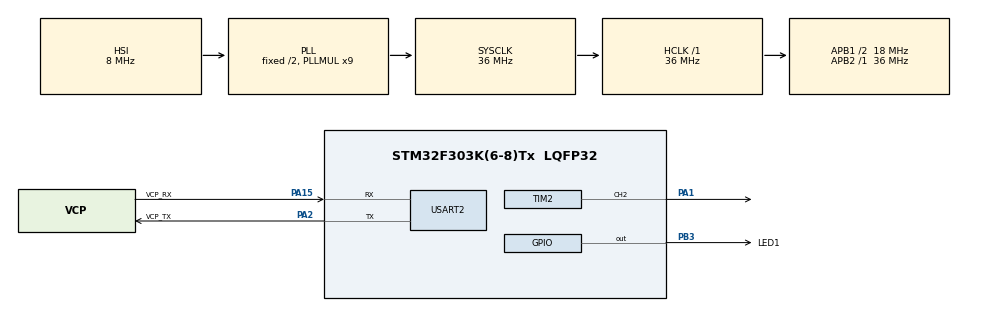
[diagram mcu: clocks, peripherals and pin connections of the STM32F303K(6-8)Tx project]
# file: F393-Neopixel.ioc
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Dma.Request0=TIM2_UP
Dma.TIM2_UP.0.Direction=DMA_MEMORY_TO_PERIPH
Dma.TIM2_UP.0.Instance=DMA1_Channel2
Dma.TIM2_UP.0.MemDataAlignment=DMA_MDATAALIGN_WORD
Dma.TIM2_UP.0.MemInc=DMA_MINC_ENABLE
Dma.TIM2_UP.0.Mode=DMA_NORMAL
Dma.TIM2_UP.0.PeriphDataAlignment=DMA_PDATAALIGN_WORD
Dma.TIM2_UP.0.PeriphInc=DMA_PINC_DISABLE
Dma.TIM2_UP.0.Priority=DMA_PRIORITY_VERY_HIGH
Mcu.Family=STM32F3
Mcu.Name=STM32F303K(6-8)Tx
Mcu.Package=LQFP32
NVIC.DMA1_Channel2_IRQn=true\:0\:0\:false\:false\:true\:false\:true\:true
NVIC.PriorityGroup=NVIC_PRIORITYGROUP_4
PA1.Signal=S_TIM2_CH2
PA13.GPIO_Label=SWDIO
PA13.Mode=Serial_Wire
PA13.Signal=SYS_JTMS-SWDIO
PA14.GPIO_Label=SWCLK
PA14.Mode=Serial_Wire
PA14.Signal=SYS_JTCK-SWCLK
PA15.GPIO_Label=VCP_RX
PA15.Mode=Asynchronous
PA15.Signal=USART2_RX
PA2.GPIO_Label=VCP_TX
PA2.Mode=Asynchronous
PA2.Signal=USART2_TX
PB3.GPIO_Label=LED1
PB3.Signal=GPIO_Output
PF0\ /\ OSC_IN.GPIO_Label=MCO
PF0\ /\ OSC_IN.Signal=RCC_OSC_IN
ProjectManager.HeapSize=0x200
ProjectManager.StackSize=0x400
ProjectManager.TargetToolchain=STM32CubeIDE
RCC.AHBFreq_Value=36000000
RCC.APB1CLKDivider=RCC_HCLK_DIV2
RCC.APB1Freq_Value=18000000
RCC.APB1TimFreq_Value=36000000
RCC.APB2Freq_Value=36000000
RCC.APB2TimFreq_Value=36000000
RCC.CortexFreq_Value=36000000
RCC.HCLKFreq_Value=36000000
RCC.HSE_VALUE=8000000
RCC.HSI_VALUE=8000000
RCC.PLLMUL=RCC_PLL_MUL9
RCC.SYSCLKFreq_VALUE=36000000
RCC.SYSCLKSourceVirtual=RCC_SYSCLKSOURCE_PLLCLK
SH.S_TIM2_CH2.0=TIM2_CH2,PWM Generation2 CH2
TIM2.Channel-PWM\ Generation2\ CH2=TIM_CHANNEL_2
TIM2.Period=45
USART2.VirtualMode-Asynchronous=VM_ASYNC
VP_TIM2_VS_ClockSourceINT.Mode=Internal
board=NUCLEO-F303K8

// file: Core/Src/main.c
/* USER CODE BEGIN Header */
/**
 ******************************************************************************
 * @file           : main.c
 * @brief          : Main program body
 ******************************************************************************
 * @attention
 *
 * Copyright (c) 2023 STMicroelectronics.
 * All rights reserved.
 *
 * This software is licensed under terms that can be found in the LICENSE file
 * in the root directory of this software component.
 * If no LICENSE file comes with this software, it is provided AS-IS.
 *
 ******************************************************************************
 */

// ARB1 Clock 36
/* USER CODE END Header */
#include "main.h"

/* USER CODE BEGIN Includes */
#define NUM_PIXELS 12
#define DMA_BUFF_SIZE (NUM_PIXELS * 24) + 1
#define NEOPIXEL_ZERO 14
#define NEOPIXEL_ONE  28
/* USER CODE END Includes */

/* USER CODE BEGIN PTD */
typedef union {
	struct {
		uint8_t b;
		uint8_t r;
		uint8_t g;
	} color;
	uint32_t data;
} PixelRGB_t;

/* USER CODE END PTD */

TIM_HandleTypeDef htim2;
DMA_HandleTypeDef hdma_tim2_up;

UART_HandleTypeDef huart2;

/* USER CODE BEGIN PV */
void HAL_TIM_PWM_PulseFinishedCallback(TIM_HandleTypeDef *htim) {
	HAL_TIM_PWM_Stop_DMA(&htim2, TIM_CHANNEL_2);
}
/* USER CODE END PV */

void SystemClock_Config(void);
static void MX_GPIO_Init(void);
static void MX_DMA_Init(void);
static void MX_USART2_UART_Init(void);
static void MX_TIM2_Init(void);
/* USER CODE BEGIN PFP */
int32_t CH1_DC = 0;
uint32_t *pBuff;
int i, j, k;
uint16_t stepSize;

/* USER CODE END PFP */

int main(void)
{

  /* USER CODE BEGIN 1 */

	PixelRGB_t pixel[NUM_PIXELS] = {0};
	uint32_t dmaBuffer[DMA_BUFF_SIZE] = { 0 };
  /* USER CODE END 1 */

  /* MCU Configuration--------------------------------------------------------*/

  /* Reset of all peripherals, Initializes the Flash interface and the Systick. */
  HAL_Init();

  /* Configure the system clock */
  SystemClock_Config();

  /* Initialize all configured peripherals */
  MX_GPIO_Init();
  MX_DMA_Init();
  MX_USART2_UART_Init();
  MX_TIM2_Init();

  /* Infinite loop */
  /* USER CODE BEGIN WHILE */

	k = 0;
	stepSize = 4;
	while (1) {

    /* USER CODE END WHILE */
HAL_GPIO_TogglePin(LED1_GPIO_Port, LED1_Pin);
    /* USER CODE BEGIN 3 */

		for (i = (NUM_PIXELS - 1); i > 0; i--) {
			pixel[i].data = pixel[i - 1].data;
		}

		if (k < 255) {
			pixel[0].color.g = 254 - k; //[254, 0]
			pixel[0].color.r = k + 1;  //[1, 255]
			pixel[0].color.b = 0;
		} else if (k < 510) {
			pixel[0].color.g = 0;
			pixel[0].color.r = 509 - k; //[254, 0]
			pixel[0].color.b = k - 254; //[1, 255]
			j++;
		} else if (k < 765) {
			pixel[0].color.g = k - 509; //[1, 255];
			pixel[0].color.r = 0;
			pixel[0].color.b = 764 - k; //[254, 0]
		}
		k = (k + stepSize) % 765;

		// not so bright
		pixel[0].color.g >>= 2;
		pixel[0].color.r >>= 2;
		pixel[0].color.b >>= 2;

		pBuff = dmaBuffer;
		for (i = 0; i < NUM_PIXELS; i++) {
			for (j = 23; j >= 0; j--) {
				if ((pixel[i].data >> j) & 0x01) {
					*pBuff = NEOPIXEL_ONE;
				} else {
					*pBuff = NEOPIXEL_ZERO;
				}
				pBuff++;
			}
		}
		dmaBuffer[DMA_BUFF_SIZE - 1] = 0; // last element must be 0!

		HAL_TIM_PWM_Start_DMA(&htim2, TIM_CHANNEL_2, dmaBuffer, DMA_BUFF_SIZE);

		HAL_Delay(10);
	}
  /* USER CODE END 3 */
}

void SystemClock_Config(void)
{
  RCC_OscInitTypeDef RCC_OscInitStruct = {0};
  RCC_ClkInitTypeDef RCC_ClkInitStruct = {0};

  /** Initializes the RCC Oscillators according to the specified parameters
  * in the RCC_OscInitTypeDef structure.
  */
  RCC_OscInitStruct.OscillatorType = RCC_OSCILLATORTYPE_HSI;
  RCC_OscInitStruct.HSIState = RCC_HSI_ON;
  RCC_OscInitStruct.HSICalibrationValue = RCC_HSICALIBRATION_DEFAULT;
  RCC_OscInitStruct.PLL.PLLState = RCC_PLL_ON;
  RCC_OscInitStruct.PLL.PLLSource = RCC_PLLSOURCE_HSI;
  RCC_OscInitStruct.PLL.PLLMUL = RCC_PLL_MUL9;
  if (HAL_RCC_OscConfig(&RCC_OscInitStruct) != HAL_OK)
  {
    Error_Handler();
  }

  /** Initializes the CPU, AHB and APB buses clocks
  */
  RCC_ClkInitStruct.ClockType = RCC_CLOCKTYPE_HCLK|RCC_CLOCKTYPE_SYSCLK
                              |RCC_CLOCKTYPE_PCLK1|RCC_CLOCKTYPE_PCLK2;
  RCC_ClkInitStruct.SYSCLKSource = RCC_SYSCLKSOURCE_PLLCLK;
  RCC_ClkInitStruct.AHBCLKDivider = RCC_SYSCLK_DIV1;
  RCC_ClkInitStruct.APB1CLKDivider = RCC_HCLK_DIV2;
  RCC_ClkInitStruct.APB2CLKDivider = RCC_HCLK_DIV1;

  if (HAL_RCC_ClockConfig(&RCC_ClkInitStruct, FLASH_LATENCY_1) != HAL_OK)
  {
    Error_Handler();
  }
}

static void MX_TIM2_Init(void)
{

  TIM_ClockConfigTypeDef sClockSourceConfig = {0};
  TIM_MasterConfigTypeDef sMasterConfig = {0};
  TIM_OC_InitTypeDef sConfigOC = {0};

  htim2.Instance = TIM2;
  htim2.Init.Prescaler = 0;
  htim2.Init.CounterMode = TIM_COUNTERMODE_UP;
  htim2.Init.Period = 45;
  htim2.Init.ClockDivision = TIM_CLOCKDIVISION_DIV1;
  htim2.Init.AutoReloadPreload = TIM_AUTORELOAD_PRELOAD_DISABLE;
  if (HAL_TIM_Base_Init(&htim2) != HAL_OK)
  {
    Error_Handler();
  }
  sClockSourceConfig.ClockSource = TIM_CLOCKSOURCE_INTERNAL;
  if (HAL_TIM_ConfigClockSource(&htim2, &sClockSourceConfig) != HAL_OK)
  {
    Error_Handler();
  }
  if (HAL_TIM_PWM_Init(&htim2) != HAL_OK)
  {
    Error_Handler();
  }
  sMasterConfig.MasterOutputTrigger = TIM_TRGO_RESET;
  sMasterConfig.MasterSlaveMode = TIM_MASTERSLAVEMODE_DISABLE;
  if (HAL_TIMEx_MasterConfigSynchronization(&htim2, &sMasterConfig) != HAL_OK)
  {
    Error_Handler();
  }
  sConfigOC.OCMode = TIM_OCMODE_PWM1;
  sConfigOC.Pulse = 0;
  sConfigOC.OCPolarity = TIM_OCPOLARITY_HIGH;
  sConfigOC.OCFastMode = TIM_OCFAST_DISABLE;
  if (HAL_TIM_PWM_ConfigChannel(&htim2, &sConfigOC, TIM_CHANNEL_2) != HAL_OK)
  {
    Error_Handler();
  }
  HAL_TIM_MspPostInit(&htim2);

}

static void MX_USART2_UART_Init(void)
{

  huart2.Instance = USART2;
  huart2.Init.BaudRate = 38400;
  huart2.Init.WordLength = UART_WORDLENGTH_8B;
  huart2.Init.StopBits = UART_STOPBITS_1;
  huart2.Init.Parity = UART_PARITY_NONE;
  huart2.Init.Mode = UART_MODE_TX_RX;
  huart2.Init.HwFlowCtl = UART_HWCONTROL_NONE;
  huart2.Init.OverSampling = UART_OVERSAMPLING_16;
  huart2.Init.OneBitSampling = UART_ONE_BIT_SAMPLE_DISABLE;
  huart2.AdvancedInit.AdvFeatureInit = UART_ADVFEATURE_NO_INIT;
  if (HAL_UART_Init(&huart2) != HAL_OK)
  {
    Error_Handler();
  }

}

static void MX_DMA_Init(void)
{

  /* DMA controller clock enable */
  __HAL_RCC_DMA1_CLK_ENABLE();

  /* DMA interrupt init */
  /* DMA1_Channel2_IRQn interrupt configuration */
  HAL_NVIC_SetPriority(DMA1_Channel2_IRQn, 0, 0);
  HAL_NVIC_EnableIRQ(DMA1_Channel2_IRQn);

}

static void MX_GPIO_Init(void)
{
  GPIO_InitTypeDef GPIO_InitStruct = {0};

  /* GPIO Ports Clock Enable */
  __HAL_RCC_GPIOF_CLK_ENABLE();
  __HAL_RCC_GPIOA_CLK_ENABLE();
  __HAL_RCC_GPIOB_CLK_ENABLE();

  /*Configure GPIO pin Output Level */
  HAL_GPIO_WritePin(LED1_GPIO_Port, LED1_Pin, GPIO_PIN_RESET);

  /*Configure GPIO pin : LED1_Pin */
  GPIO_InitStruct.Pin = LED1_Pin;
  GPIO_InitStruct.Mode = GPIO_MODE_OUTPUT_PP;
  GPIO_InitStruct.Pull = GPIO_NOPULL;
  GPIO_InitStruct.Speed = GPIO_SPEED_FREQ_LOW;
  HAL_GPIO_Init(LED1_GPIO_Port, &GPIO_InitStruct);

}

void Error_Handler(void)
{
	__disable_irq();
	while (1) {
	}
}
